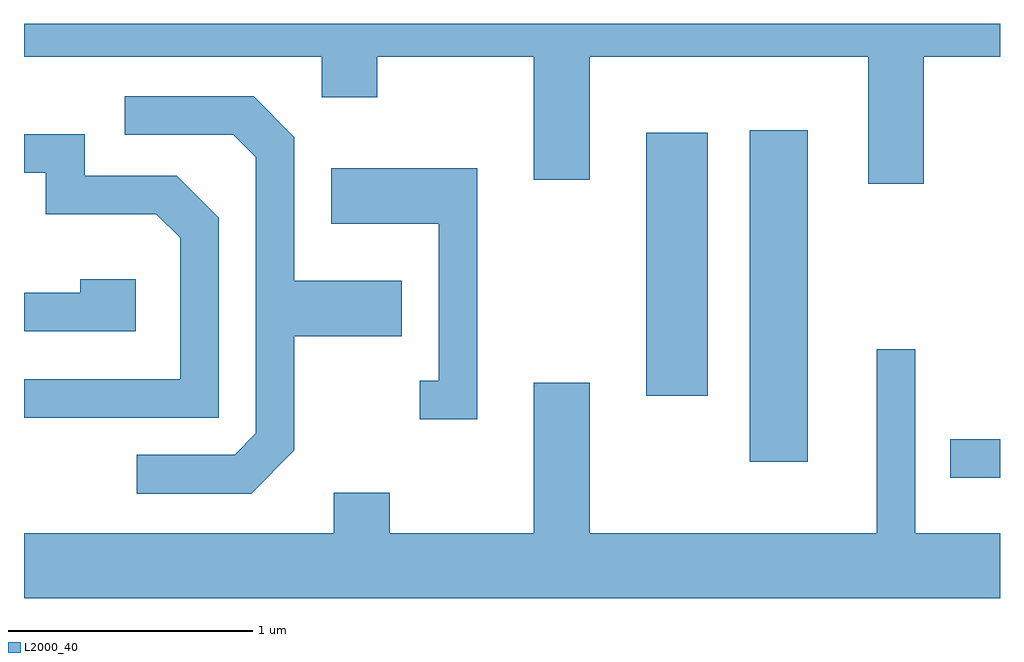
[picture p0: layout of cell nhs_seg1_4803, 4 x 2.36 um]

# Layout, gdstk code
import gdstk
lib = gdstk.Library(unit=1e-6, precision=1e-09)
def R(c, l, rs):  # rectangles x0, y0, x1, y1
    for r in rs: c.add(gdstk.rectangle(r[:2], r[2:], *l))
def P(c, l, *ps):  # polygons
    for p in ps: c.add(gdstk.Polygon(p, *l))
L2000_40 = (2000, 40)

nhs_seg1_4803 = lib.new_cell('nhs_seg1_4803')
R(nhs_seg1_4803, L2000_40, [(333.408,897.851,333.611,898.009), (332.586,897.916,332.824,899.274), (332.161,898.186,332.414,899.264)])
P(nhs_seg1_4803, L2000_40, [(333.299,899.576),(333.611,899.576),(333.611,899.712),(329.611,899.712),(329.611,899.576),(330.831,899.576),(330.831,899.411),(331.059,899.411),(331.059,899.576),(331.701,899.576),(331.701,899.071),(331.929,899.071),(331.929,899.576),(333.071,899.576),(333.071,899.056),(333.299,899.056)],
  [(330.719,897.964),(330.719,898.431),(331.159,898.431),(331.159,898.659),(330.719,898.659),(330.719,899.247),(330.552,899.414),(330.023,899.414),(330.023,899.256),(330.469,899.256),(330.561,899.164),(330.561,898.032),(330.474,897.944),(330.073,897.944),(330.073,897.786),(330.542,897.786)],
  [(330.409,898.917),(330.237,899.089),(329.859,899.089),(329.859,899.259),(329.611,899.259),(329.611,899.101),(329.701,899.101),(329.701,898.931),(330.154,898.931),(330.251,898.834),(330.251,898.254),(329.611,898.254),(329.611,898.096),(330.409,898.096)],
  [(331.469,899.119),(330.871,899.119),(330.871,898.891),(331.311,898.891),(331.311,898.249),(331.233,898.249),(331.233,898.091),(331.469,898.091)],
  [(330.069,898.664),(329.841,898.664),(329.841,898.609),(329.611,898.609),(329.611,898.451),(330.069,898.451)],
  [(333.611,897.624),(333.264,897.624),(333.264,898.378),(333.106,898.378),(333.106,897.624),(331.929,897.624),(331.929,898.239),(331.701,898.239),(331.701,897.624),(331.109,897.624),(331.109,897.789),(330.881,897.789),(330.881,897.624),(329.611,897.624),(329.611,897.356),(333.611,897.356)])

lib.write_gds('nhs_seg1_4803.gds')
